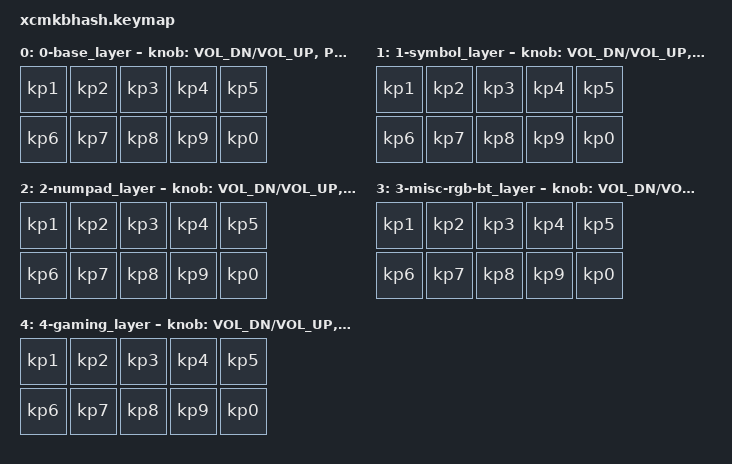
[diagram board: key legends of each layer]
/*
 * Copyright (c) 2020 The ZMK Contributors
 *
 * SPDX-License-Identifier: MIT
 */

#include <behaviors.dtsi>
#include <dt-bindings/zmk/keys.h>
#include <dt-bindings/zmk/bt.h>
#include <dt-bindings/zmk/rgb.h>
#include <dt-bindings/zmk/ext_power.h>

#define DEFAULT 0-base
#define LOWER   1-symbol
#define RAISE   2-numpad
#define ADJUST  3-misc-rgb-bt
#define GAMING  4-gaming

&encoder_1 {
    status = "okay";
};

&encoder_2 {
    status = "okay";
};

/ {
    sensors {
        compatible = "zmk,keymap-sensors";
        sensors = <&encoder_1 &encoder_2>;
    };
};




/ {
        keymap {
                compatible = "zmk,keymap";
				



                  0-base_layer {

                        bindings = <
&kp KP_NUMBER_1 &kp KP_NUMBER_2 &kp KP_NUMBER_3 &kp KP_NUMBER_4 &kp KP_NUMBER_5
&kp KP_NUMBER_6 &kp KP_NUMBER_7 &kp KP_NUMBER_8 &kp KP_NUMBER_9 &kp KP_NUMBER_0
                        >;
            sensor-bindings = <&inc_dec_kp C_VOL_DN C_VOL_UP &inc_dec_kp PG_UP PG_DN>;

                };

                1-symbol_layer {

                        bindings = <
&kp KP_NUMBER_1 &kp KP_NUMBER_2 &kp KP_NUMBER_3 &kp KP_NUMBER_4 &kp KP_NUMBER_5
&kp KP_NUMBER_6 &kp KP_NUMBER_7 &kp KP_NUMBER_8 &kp KP_NUMBER_9 &kp KP_NUMBER_0
                        >;
            sensor-bindings = <&inc_dec_kp C_VOL_DN C_VOL_UP &inc_dec_kp PG_UP PG_DN>;


                };

                2-numpad_layer {

                        bindings = <
&kp KP_NUMBER_1 &kp KP_NUMBER_2 &kp KP_NUMBER_3 &kp KP_NUMBER_4 &kp KP_NUMBER_5
&kp KP_NUMBER_6 &kp KP_NUMBER_7 &kp KP_NUMBER_8 &kp KP_NUMBER_9 &kp KP_NUMBER_0
                        >;
            sensor-bindings = <&inc_dec_kp C_VOL_DN C_VOL_UP &inc_dec_kp PG_UP PG_DN>;


                };

                3-misc-rgb-bt_layer {

                        bindings = <
&kp KP_NUMBER_1 &kp KP_NUMBER_2 &kp KP_NUMBER_3 &kp KP_NUMBER_4 &kp KP_NUMBER_5
&kp KP_NUMBER_6 &kp KP_NUMBER_7 &kp KP_NUMBER_8 &kp KP_NUMBER_9 &kp KP_NUMBER_0
                        >;
            sensor-bindings = <&inc_dec_kp C_VOL_DN C_VOL_UP &inc_dec_kp PG_UP PG_DN>;


                };
                
                      4-gaming_layer {

                        bindings = <
&kp KP_NUMBER_1 &kp KP_NUMBER_2 &kp KP_NUMBER_3 &kp KP_NUMBER_4 &kp KP_NUMBER_5
&kp KP_NUMBER_6 &kp KP_NUMBER_7 &kp KP_NUMBER_8 &kp KP_NUMBER_9 &kp KP_NUMBER_0
                        >;
            sensor-bindings = <&inc_dec_kp C_VOL_DN C_VOL_UP &inc_dec_kp PG_UP PG_DN>;


                };
            
                
                
             

        };
};
